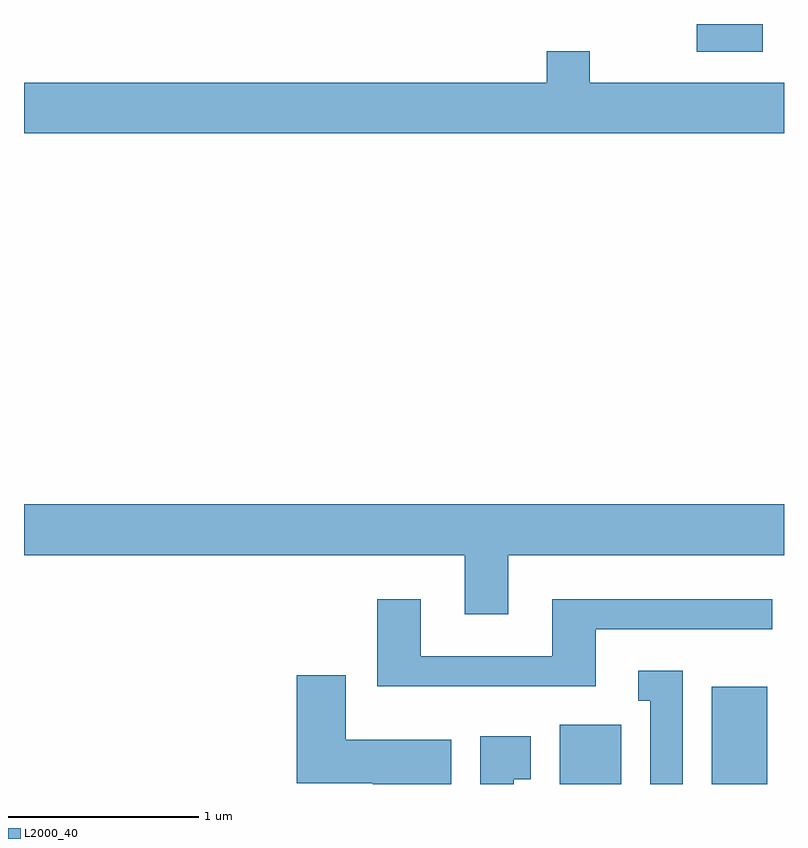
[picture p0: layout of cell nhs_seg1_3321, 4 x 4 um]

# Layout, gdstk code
import gdstk
lib = gdstk.Library(unit=1e-6, precision=1e-09)
def R(c, l, rs):  # rectangles x0, y0, x1, y1
    for r in rs: c.add(gdstk.rectangle(r[:2], r[2:], *l))
def P(c, l, *ps):  # polygons
    for p in ps: c.add(gdstk.Polygon(p, *l))
L2000_40 = (2000, 40)

nhs_seg1_3321 = lib.new_cell('nhs_seg1_3321')
R(nhs_seg1_3321, L2000_40, [(288.431,891.712,288.754,892.024), (289.231,891.712,289.524,892.224), (289.153,895.566,289.499,895.712)])
P(nhs_seg1_3321, L2000_40, [(289.611,895.404),(288.589,895.404),(288.589,895.569),(288.361,895.569),(288.361,895.404),(285.611,895.404),(285.611,895.136),(289.611,895.136)],
  [(288.159,892.916),(289.611,892.916),(289.611,893.184),(285.611,893.184),(285.611,892.916),(287.931,892.916),(287.931,892.606),(288.159,892.606)],
  [(288.619,892.526),(289.548,892.526),(289.548,892.684),(288.391,892.684),(288.391,892.384),(287.699,892.384),(287.699,892.684),(287.471,892.684),(287.471,892.226),(288.619,892.226)],
  [(289.079,892.309),(288.843,892.309),(288.843,892.151),(288.906,892.151),(288.906,891.712),(289.079,891.712)],
  [(287.859,891.944),(287.304,891.944),(287.304,892.284),(287.046,892.284),(287.046,891.716),(287.446,891.716),(287.446,891.712),(287.859,891.712)],
  [(288.189,891.736),(288.279,891.736),(288.279,891.964),(288.011,891.964),(288.011,891.712),(288.189,891.712)])

lib.write_gds('nhs_seg1_3321.gds')
